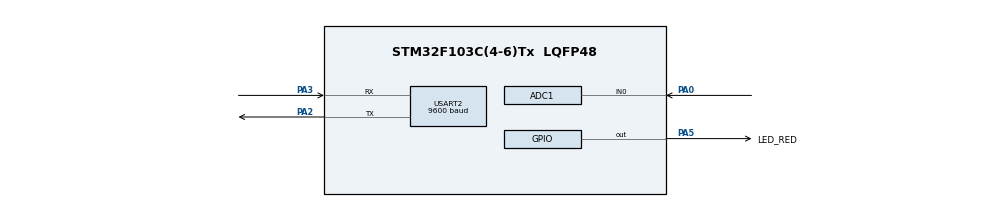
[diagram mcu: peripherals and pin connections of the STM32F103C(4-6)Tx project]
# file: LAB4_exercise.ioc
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ADC1.Channel-0\#ChannelRegularConversion=ADC_CHANNEL_0
ADC1.ContinuousConvMode=ENABLE
ADC1.NbrOfConversionFlag=1
ADC1.Rank-0\#ChannelRegularConversion=1
ADC1.SamplingTime-0\#ChannelRegularConversion=ADC_SAMPLETIME_1CYCLE_5
ADC1.master=1
Mcu.Family=STM32F1
Mcu.Name=STM32F103C(4-6)Tx
Mcu.Package=LQFP48
NVIC.PriorityGroup=NVIC_PRIORITYGROUP_4
NVIC.TIM2_IRQn=true\:0\:0\:false\:false\:true\:true\:true
NVIC.USART2_IRQn=true\:0\:0\:false\:false\:true\:true\:true
PA0-WKUP.Signal=ADCx_IN0
PA2.Mode=Asynchronous
PA2.Signal=USART2_TX
PA3.Mode=Asynchronous
PA3.Signal=USART2_RX
PA5.GPIO_Label=LED_RED
PA5.Signal=GPIO_Output
PA6.Signal=S_TIM3_CH1
ProjectManager.HeapSize=0x200
ProjectManager.StackSize=0x400
ProjectManager.TargetToolchain=STM32CubeIDE
RCC.AHBCLKDivider=RCC_SYSCLK_DIV4
RCC.AHBFreq_Value=2000000
RCC.APB1Freq_Value=2000000
RCC.APB1TimFreq_Value=2000000
RCC.APB2Freq_Value=2000000
RCC.APB2TimFreq_Value=2000000
RCC.HCLKFreq_Value=2000000
SH.ADCx_IN0.0=ADC1_IN0,IN0
SH.S_TIM3_CH1.0=TIM3_CH1
TIM2.Period=9
TIM2.Prescaler=1999
USART2.BaudRate=9600
USART2.VirtualMode=VM_ASYNC
VP_SYS_VS_ND.Mode=No_Debug
VP_TIM2_VS_ClockSourceINT.Mode=Internal
board=custom

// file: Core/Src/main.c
/* USER CODE BEGIN Header */
/**
  ******************************************************************************
  * @file           : main.c
  * @brief          : Main program body
  ******************************************************************************
  * @attention
  *
  * <h2><center>&copy; Copyright (c) 2023 STMicroelectronics.
  * All rights reserved.</center></h2>
  *
  * This software component is licensed by ST under BSD 3-Clause license,
  * the "License"; You may not use this file except in compliance with the
  * License. You may obtain a copy of the License at:
  *                        opensource.org/licenses/BSD-3-Clause
  *
  ******************************************************************************
  */
/* USER CODE END Header */
#include "main.h"

/* USER CODE BEGIN Includes */
#include "software_timer.h"
#include "string.h"
#include "stdint.h"
#include "stdio.h"
#include "scheduler.h"
/* USER CODE END Includes */

ADC_HandleTypeDef hadc1;

TIM_HandleTypeDef htim2;

UART_HandleTypeDef huart2;

void SystemClock_Config(void);
static void MX_GPIO_Init(void);
static void MX_ADC1_Init(void);
static void MX_USART2_UART_Init(void);
static void MX_TIM2_Init(void);

/* USER CODE BEGIN 0 */
#define MAX_BUFFER_SIZE 30

#define INIT 0
#define READ 1

#define START 3
#define DOING  4
#define END 5
#define IDLE 6

uint8_t temp = 0;
uint8_t buffer[MAX_BUFFER_SIZE];
uint8_t index_buffer = 0;
uint8_t buffer_flag = 0;
uint8_t command_flag = 0;
int state = INIT;
int uart_state = 0;
uint32_t ADC_value = 0;
char str[30];
char command_data[MAX_BUFFER_SIZE];
int index_data = 0;

void HAL_UART_RxCpltCallback(UART_HandleTypeDef *huart){
	if (huart->Instance == USART2){
		HAL_UART_Transmit(&huart2, &temp, 1, 50);
		buffer[index_buffer++] = temp;
		if (index_buffer == MAX_BUFFER_SIZE) index_buffer = 0;
		buffer_flag = 1;
		HAL_UART_Receive_IT(&huart2, &temp, 1);
	}
}

void resetCommand(){
	memset(command_data,'\0',sizeof(command_data));
	index_data=0;
}
void resetBuffer(){
	memset(buffer, '\0', sizeof(buffer));
	index_buffer = 0;
}

void command_parser_fsm() {
	switch(state){
	case INIT:
		if (buffer[index_buffer-1] == '!') state = READ;
		resetCommand();
		command_data[index_data++] = buffer[index_buffer-1];
		break;
	case READ:
		if (buffer[index_buffer-1] == '!'){
			resetCommand();
			command_data[index_data++] = buffer[index_buffer-1];
		}
		else if (buffer[index_buffer-1] == '#') {
			command_flag = 1;
			state = INIT;
			resetBuffer();
		}
		else {
			command_data[index_data++] = buffer[index_buffer-1];
		}
		break;
	default:
		break;
	}
}
void checkCommand(){
	if (command_flag == 1){
		command_flag = 0;
		if (!strcmp(command_data,"!RST")){
			uart_state = START;
			resetCommand();
//			resetBuffer();
			return;
		}
		else if (!strcmp(command_data,"!OK")) {
			uart_state = END;
			resetCommand();
//			resetBuffer();
			return;
		}
		else{
			resetCommand();
//			resetBuffer();
			HAL_UART_Transmit(&huart2, (void*)str, sprintf(str,"\r\nWrong Command\r\n"), 1000);
			uart_state = IDLE;
		}
	}
}

void uart_communication_fsm(){
	checkCommand();
	switch(uart_state){
	case START:
		HAL_ADC_Start(&hadc1);
		ADC_value = HAL_ADC_GetValue(&hadc1);
		HAL_ADC_Stop(&hadc1);
		HAL_UART_Transmit(&huart2, (void*)str, sprintf(str,"\r\n!ADC=%ld#\r\n",ADC_value), 1000);
		setTimer(0, 300);
		uart_state = DOING;
		break;
	case DOING:
		if (timer_flag[0] == 1){
			setTimer(0, 300);
			resetCommand();
//			resetBuffer();
			uart_state = START;
		}
		break;
	case END:
//		setTimer(0, 10);
		timer_flag[0] = 0;
		HAL_UART_Transmit(&huart2, (void*)str, sprintf(str,"\r\ndone\r\n"), 1000);
		HAL_GPIO_TogglePin(LED_RED_GPIO_Port, LED_RED_Pin);
		uart_state = IDLE;
	case IDLE:
		break;
	default:
		break;
	}
}

void run_command_parser(){
	if (buffer_flag == 1){
		command_parser_fsm();
		buffer_flag = 0;
	}
}
void toggleLED(){
//	setTimer(1, 50);
	if(timer_flag[1]){
		HAL_GPIO_TogglePin(LED_RED_GPIO_Port, LED_RED_Pin);
		setTimer(1, 50);
	}
}
/* USER CODE END 0 */

int main(void)
{

  /* MCU Configuration--------------------------------------------------------*/

  /* Reset of all peripherals, Initializes the Flash interface and the Systick. */
  HAL_Init();

  /* Configure the system clock */
  SystemClock_Config();

  /* Initialize all configured peripherals */
  MX_GPIO_Init();
  MX_ADC1_Init();
  MX_USART2_UART_Init();
  MX_TIM2_Init();
  /* USER CODE BEGIN 2 */
  HAL_UART_Receive_IT(&huart2, &temp , 1);
  HAL_TIM_Base_Start_IT(&htim2);
  /* USER CODE END 2 */

  /* Infinite loop */
  /* USER CODE BEGIN WHILE */
//  setTimer(0, 11);
  setTimer(1, 2);
  SCH_Init();
  SCH_Add_Task(timerRun, 0, 1);
  SCH_Add_Task(toggleLED, 0, 10);
  SCH_Add_Task(run_command_parser, 1, 10);
  SCH_Add_Task(uart_communication_fsm, 1, 10);
  while(1)
  {
//	  HAL_GPIO_TogglePin(LED_RED_GPIO_Port, LED_RED_Pin);
//	  HAL_Delay(1000);
//	  if (buffer_flag == 1){
//		  command_parser_fsm();
//		  buffer_flag = 0;
//	  }
//	  uart_communication_fsm();
//	  HAL_GPIO_WritePin(LED_RED_GPIO_Port, LED_RED_Pin, 1);
	  SCH_Dispatch_Tasks();

    /* USER CODE END WHILE */

  }
}

void SystemClock_Config(void)
{
  RCC_OscInitTypeDef RCC_OscInitStruct = {0};
  RCC_ClkInitTypeDef RCC_ClkInitStruct = {0};
  RCC_PeriphCLKInitTypeDef PeriphClkInit = {0};

  /** Initializes the RCC Oscillators according to the specified parameters
  * in the RCC_OscInitTypeDef structure.
  */
  RCC_OscInitStruct.OscillatorType = RCC_OSCILLATORTYPE_HSI;
  RCC_OscInitStruct.HSIState = RCC_HSI_ON;
  RCC_OscInitStruct.HSICalibrationValue = RCC_HSICALIBRATION_DEFAULT;
  RCC_OscInitStruct.PLL.PLLState = RCC_PLL_NONE;
  if (HAL_RCC_OscConfig(&RCC_OscInitStruct) != HAL_OK)
  {
    Error_Handler();
  }
  /** Initializes the CPU, AHB and APB buses clocks
  */
  RCC_ClkInitStruct.ClockType = RCC_CLOCKTYPE_HCLK|RCC_CLOCKTYPE_SYSCLK
                              |RCC_CLOCKTYPE_PCLK1|RCC_CLOCKTYPE_PCLK2;
  RCC_ClkInitStruct.SYSCLKSource = RCC_SYSCLKSOURCE_HSI;
  RCC_ClkInitStruct.AHBCLKDivider = RCC_SYSCLK_DIV4;
  RCC_ClkInitStruct.APB1CLKDivider = RCC_HCLK_DIV1;
  RCC_ClkInitStruct.APB2CLKDivider = RCC_HCLK_DIV1;

  if (HAL_RCC_ClockConfig(&RCC_ClkInitStruct, FLASH_LATENCY_0) != HAL_OK)
  {
    Error_Handler();
  }
  PeriphClkInit.PeriphClockSelection = RCC_PERIPHCLK_ADC;
  PeriphClkInit.AdcClockSelection = RCC_ADCPCLK2_DIV2;
  if (HAL_RCCEx_PeriphCLKConfig(&PeriphClkInit) != HAL_OK)
  {
    Error_Handler();
  }
}

static void MX_ADC1_Init(void)
{

  ADC_ChannelConfTypeDef sConfig = {0};

  /** Common config
  */
  hadc1.Instance = ADC1;
  hadc1.Init.ScanConvMode = ADC_SCAN_DISABLE;
  hadc1.Init.ContinuousConvMode = ENABLE;
  hadc1.Init.DiscontinuousConvMode = DISABLE;
  hadc1.Init.ExternalTrigConv = ADC_SOFTWARE_START;
  hadc1.Init.DataAlign = ADC_DATAALIGN_RIGHT;
  hadc1.Init.NbrOfConversion = 1;
  if (HAL_ADC_Init(&hadc1) != HAL_OK)
  {
    Error_Handler();
  }
  /** Configure Regular Channel
  */
  sConfig.Channel = ADC_CHANNEL_0;
  sConfig.Rank = ADC_REGULAR_RANK_1;
  sConfig.SamplingTime = ADC_SAMPLETIME_1CYCLE_5;
  if (HAL_ADC_ConfigChannel(&hadc1, &sConfig) != HAL_OK)
  {
    Error_Handler();
  }

}

static void MX_TIM2_Init(void)
{

  TIM_ClockConfigTypeDef sClockSourceConfig = {0};
  TIM_MasterConfigTypeDef sMasterConfig = {0};

  htim2.Instance = TIM2;
  htim2.Init.Prescaler = 1999;
  htim2.Init.CounterMode = TIM_COUNTERMODE_UP;
  htim2.Init.Period = 9;
  htim2.Init.ClockDivision = TIM_CLOCKDIVISION_DIV1;
  htim2.Init.AutoReloadPreload = TIM_AUTORELOAD_PRELOAD_DISABLE;
  if (HAL_TIM_Base_Init(&htim2) != HAL_OK)
  {
    Error_Handler();
  }
  sClockSourceConfig.ClockSource = TIM_CLOCKSOURCE_INTERNAL;
  if (HAL_TIM_ConfigClockSource(&htim2, &sClockSourceConfig) != HAL_OK)
  {
    Error_Handler();
  }
  sMasterConfig.MasterOutputTrigger = TIM_TRGO_RESET;
  sMasterConfig.MasterSlaveMode = TIM_MASTERSLAVEMODE_DISABLE;
  if (HAL_TIMEx_MasterConfigSynchronization(&htim2, &sMasterConfig) != HAL_OK)
  {
    Error_Handler();
  }

}

static void MX_USART2_UART_Init(void)
{

  huart2.Instance = USART2;
  huart2.Init.BaudRate = 9600;
  huart2.Init.WordLength = UART_WORDLENGTH_8B;
  huart2.Init.StopBits = UART_STOPBITS_1;
  huart2.Init.Parity = UART_PARITY_NONE;
  huart2.Init.Mode = UART_MODE_TX_RX;
  huart2.Init.HwFlowCtl = UART_HWCONTROL_NONE;
  huart2.Init.OverSampling = UART_OVERSAMPLING_16;
  if (HAL_UART_Init(&huart2) != HAL_OK)
  {
    Error_Handler();
  }

}

static void MX_GPIO_Init(void)
{
  GPIO_InitTypeDef GPIO_InitStruct = {0};

  /* GPIO Ports Clock Enable */
  __HAL_RCC_GPIOA_CLK_ENABLE();

  /*Configure GPIO pin Output Level */
  HAL_GPIO_WritePin(LED_RED_GPIO_Port, LED_RED_Pin, GPIO_PIN_RESET);

  /*Configure GPIO pin : LED_RED_Pin */
  GPIO_InitStruct.Pin = LED_RED_Pin;
  GPIO_InitStruct.Mode = GPIO_MODE_OUTPUT_PP;
  GPIO_InitStruct.Pull = GPIO_NOPULL;
  GPIO_InitStruct.Speed = GPIO_SPEED_FREQ_LOW;
  HAL_GPIO_Init(LED_RED_GPIO_Port, &GPIO_InitStruct);

  /*Configure GPIO pin : PA6 */
  GPIO_InitStruct.Pin = GPIO_PIN_6;
  GPIO_InitStruct.Mode = GPIO_MODE_AF_PP;
  GPIO_InitStruct.Speed = GPIO_SPEED_FREQ_LOW;
  HAL_GPIO_Init(GPIOA, &GPIO_InitStruct);

}

/* USER CODE BEGIN 4 */
void HAL_TIM_PeriodElapsedCallback(TIM_HandleTypeDef *htim){
	SCH_Update();
//	timerRun();
}
/* USER CODE END 4 */

void Error_Handler(void)
{
  __disable_irq();
  while (1)
  {
  }
}

/************************ (C) COPYRIGHT STMicroelectronics *****END OF FILE****/
